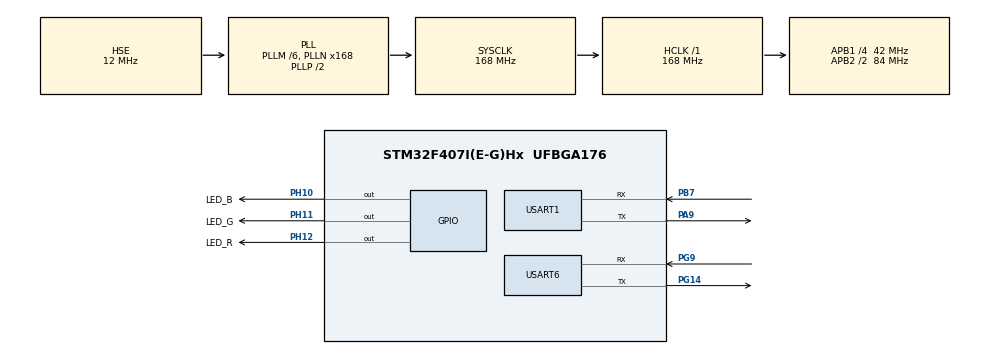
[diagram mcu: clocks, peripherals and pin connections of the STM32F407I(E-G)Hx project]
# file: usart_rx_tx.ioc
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Mcu.Family=STM32F4
Mcu.Name=STM32F407I(E-G)Hx
Mcu.Package=UFBGA176
NVIC.PriorityGroup=NVIC_PRIORITYGROUP_4
NVIC.USART1_IRQn=true\:0\:0\:false\:false\:true\:true\:true\:true
NVIC.USART6_IRQn=true\:0\:0\:false\:false\:true\:true\:true\:true
PA13.Mode=Serial_Wire
PA13.Signal=SYS_JTMS-SWDIO
PA14.Mode=Serial_Wire
PA14.Signal=SYS_JTCK-SWCLK
PA9.Mode=Asynchronous
PA9.Signal=USART1_TX
PB7.Mode=Asynchronous
PB7.Signal=USART1_RX
PC14-OSC32_IN.Mode=LSE-External-Oscillator
PC14-OSC32_IN.Signal=RCC_OSC32_IN
PC15-OSC32_OUT.Mode=LSE-External-Oscillator
PC15-OSC32_OUT.Signal=RCC_OSC32_OUT
PG14.Mode=Asynchronous
PG14.Signal=USART6_TX
PG9.Mode=Asynchronous
PG9.Signal=USART6_RX
PH0-OSC_IN.Mode=HSE-External-Oscillator
PH0-OSC_IN.Signal=RCC_OSC_IN
PH1-OSC_OUT.Mode=HSE-External-Oscillator
PH1-OSC_OUT.Signal=RCC_OSC_OUT
PH10.GPIO_Label=LED_B
PH10.Signal=GPIO_Output
PH11.GPIO_Label=LED_G
PH11.Signal=GPIO_Output
PH12.GPIO_Label=LED_R
PH12.Signal=GPIO_Output
ProjectManager.HeapSize=0x200
ProjectManager.StackSize=0x400
ProjectManager.TargetToolchain=STM32CubeIDE
RCC.48MHZClocksFreq_Value=84000000
RCC.AHBFreq_Value=168000000
RCC.APB1CLKDivider=RCC_HCLK_DIV4
RCC.APB1Freq_Value=42000000
RCC.APB1TimFreq_Value=84000000
RCC.APB2CLKDivider=RCC_HCLK_DIV2
RCC.APB2Freq_Value=84000000
RCC.APB2TimFreq_Value=168000000
RCC.CortexFreq_Value=168000000
RCC.HCLKFreq_Value=168000000
RCC.HSE_VALUE=12000000
RCC.HSI_VALUE=16000000
RCC.PLLM=6
RCC.PLLN=168
RCC.PLLSourceVirtual=RCC_PLLSOURCE_HSE
RCC.SYSCLKFreq_VALUE=168000000
RCC.SYSCLKSource=RCC_SYSCLKSOURCE_PLLCLK
RCC.VCOOutputFreq_Value=336000000
USART1.VirtualMode=VM_ASYNC
USART6.VirtualMode=VM_ASYNC
board=custom

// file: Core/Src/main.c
/* USER CODE BEGIN Header */
/**
  ******************************************************************************
  * @file           : main.c
  * @brief          : Main program body
  ******************************************************************************
  * @attention
  *
  * Copyright (c) 2023 STMicroelectronics.
  * All rights reserved.
  *
  * This software is licensed under terms that can be found in the LICENSE file
  * in the root directory of this software component.
  * If no LICENSE file comes with this software, it is provided AS-IS.
  *
  ******************************************************************************
  */
/* USER CODE END Header */
#include "main.h"
#include "usart.h"
#include "gpio.h"

void SystemClock_Config(void);

/* USER CODE BEGIN 0 */

void USART1_IRQHandler(void)
{
    volatile uint8_t receive;
    //receive interrupt
    if(huart1.Instance->SR & UART_FLAG_RXNE)
    {
        receive = huart1.Instance->DR;
        HAL_GPIO_TogglePin(LED_R_GPIO_Port, LED_R_Pin);
    }
    //idle interrupt
    else if(huart1.Instance->SR & UART_FLAG_IDLE)
    {
        receive = huart1.Instance->DR;
        HAL_GPIO_WritePin(LED_R_GPIO_Port, LED_R_Pin, GPIO_PIN_RESET);
    }
}

void USART6_IRQHandler(void)
{
    volatile uint8_t receive;
    //receive interrupt
    if(huart6.Instance->SR & UART_FLAG_RXNE)
    {
        receive = huart6.Instance->DR;
        HAL_GPIO_TogglePin(LED_G_GPIO_Port, LED_G_Pin);
    }
    //idle interrupt
    else if(huart6.Instance->SR & UART_FLAG_IDLE)
    {
        receive = huart6.Instance->DR;
        HAL_GPIO_WritePin(LED_G_GPIO_Port, LED_G_Pin, GPIO_PIN_RESET);
    }
}

/* USER CODE END 0 */

int main(void)
{

  /* MCU Configuration--------------------------------------------------------*/

  /* Reset of all peripherals, Initializes the Flash interface and the Systick. */
  HAL_Init();

  /* Configure the system clock */
  SystemClock_Config();

  /* Initialize all configured peripherals */
  MX_GPIO_Init();
  MX_USART1_UART_Init();
  MX_USART6_UART_Init();
  /* USER CODE BEGIN 2 */
    HAL_GPIO_WritePin(LED_R_GPIO_Port, LED_R_Pin, GPIO_PIN_RESET);
    HAL_GPIO_WritePin(LED_G_GPIO_Port, LED_G_Pin, GPIO_PIN_RESET);
    HAL_GPIO_WritePin(LED_B_GPIO_Port, LED_B_Pin, GPIO_PIN_RESET);
    //enable receive interrupt and idle interrupt
    __HAL_UART_ENABLE_IT(&huart1, UART_IT_RXNE);  //receive interrupt
    __HAL_UART_ENABLE_IT(&huart1, UART_IT_IDLE);  //idle interrupt
    __HAL_UART_ENABLE_IT(&huart6, UART_IT_RXNE);  //receive interrupt
    __HAL_UART_ENABLE_IT(&huart6, UART_IT_IDLE);  //idle interrupt
  /* USER CODE END 2 */

  /* Infinite loop */
  /* USER CODE BEGIN WHILE */
  int count = 0;
  while (1)
  {
    /* USER CODE END WHILE */

    /* USER CODE BEGIN 3 */
//      int nDigits = floor(log10(abs(count))) + 1;
//      char str_count[10];
//      itoa(count, str_count, 10);
//      strcat(str_count, "\r\n");
//      //send data by usart
//      HAL_UART_Transmit(&huart1, "RoboMaster\r\n" , 12, 100);
//      HAL_Delay(500);
//      HAL_UART_Transmit(&huart6, str_count, nDigits+2, 100);
//      HAL_Delay(500);
//      count++;

      HAL_UART_Transmit(&huart1, "RoboMaster\r\n", 12, 100);
      HAL_Delay(500);
      HAL_UART_Transmit(&huart6, "RoboMaster\r\n", 12, 100);
      HAL_Delay(500);
  }
  /* USER CODE END 3 */
}

void SystemClock_Config(void)
{
  RCC_OscInitTypeDef RCC_OscInitStruct = {0};
  RCC_ClkInitTypeDef RCC_ClkInitStruct = {0};

  /** Configure the main internal regulator output voltage
  */
  __HAL_RCC_PWR_CLK_ENABLE();
  __HAL_PWR_VOLTAGESCALING_CONFIG(PWR_REGULATOR_VOLTAGE_SCALE1);

  /** Initializes the RCC Oscillators according to the specified parameters
  * in the RCC_OscInitTypeDef structure.
  */
  RCC_OscInitStruct.OscillatorType = RCC_OSCILLATORTYPE_HSE;
  RCC_OscInitStruct.HSEState = RCC_HSE_ON;
  RCC_OscInitStruct.PLL.PLLState = RCC_PLL_ON;
  RCC_OscInitStruct.PLL.PLLSource = RCC_PLLSOURCE_HSE;
  RCC_OscInitStruct.PLL.PLLM = 6;
  RCC_OscInitStruct.PLL.PLLN = 168;
  RCC_OscInitStruct.PLL.PLLP = RCC_PLLP_DIV2;
  RCC_OscInitStruct.PLL.PLLQ = 4;
  if (HAL_RCC_OscConfig(&RCC_OscInitStruct) != HAL_OK)
  {
    Error_Handler();
  }

  /** Initializes the CPU, AHB and APB buses clocks
  */
  RCC_ClkInitStruct.ClockType = RCC_CLOCKTYPE_HCLK|RCC_CLOCKTYPE_SYSCLK
                              |RCC_CLOCKTYPE_PCLK1|RCC_CLOCKTYPE_PCLK2;
  RCC_ClkInitStruct.SYSCLKSource = RCC_SYSCLKSOURCE_PLLCLK;
  RCC_ClkInitStruct.AHBCLKDivider = RCC_SYSCLK_DIV1;
  RCC_ClkInitStruct.APB1CLKDivider = RCC_HCLK_DIV4;
  RCC_ClkInitStruct.APB2CLKDivider = RCC_HCLK_DIV2;

  if (HAL_RCC_ClockConfig(&RCC_ClkInitStruct, FLASH_LATENCY_5) != HAL_OK)
  {
    Error_Handler();
  }
}

void Error_Handler(void)
{
  __disable_irq();
  while (1)
  {
  }
}
